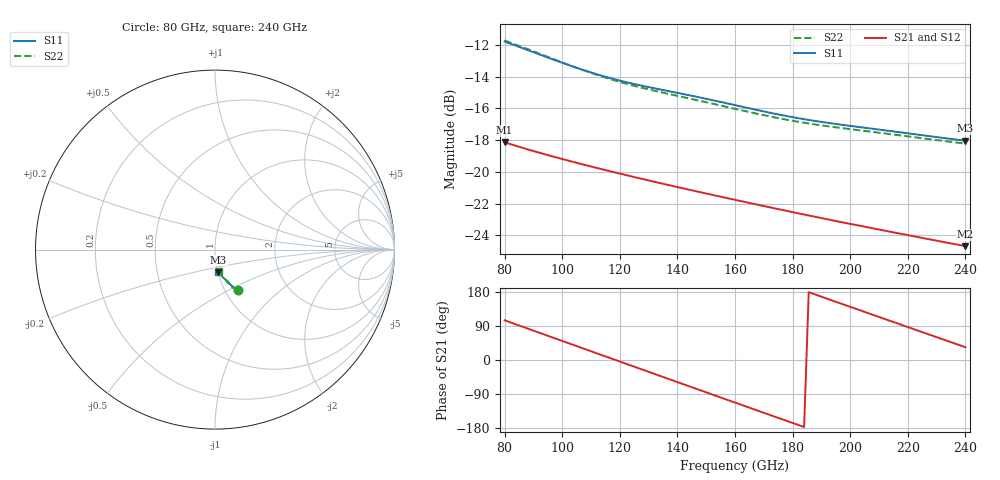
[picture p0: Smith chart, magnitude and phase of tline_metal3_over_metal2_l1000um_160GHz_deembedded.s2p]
! Created with skrf 2.2.0 (http://scikit-rf.org).
# GHz S DB R 50.0
! Port[1] = P1
! Port[2] = P2
!freq dBS11 angS11 dBS21 angS21 dBS12 angS12 dBS22 angS22
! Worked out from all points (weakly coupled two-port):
!   101 points, 80 GHz to 240 GHz, reference 50 ohm
!   highest |S21| = -18.14 dB at 80 GHz (marker M1); lowest = -24.7 dB at 240 GHz (marker M2)
!   lowest |S11| = -18.0 dB at 240 GHz (marker M3), VSWR 1.29, Z = 50.4 - j12.7 ohm
!   |S11| at or under -10 dB: start of sweep to end of sweep
!   |S22| runs from -18.2 to -11.7 dB; largest |S21 - S12| = 2.1e-14
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80  -11.79 -60.4  -18.14 104.8  -18.14 104.8  -11.72 -61.1
86.4  -12.22 -62.2  -18.49 87.3  -18.49 87.3  -12.16 -63.1
92.8  -12.65 -63.8  -18.83 69.9  -18.83 69.9  -12.60 -64.8
100.8  -13.18 -65.4  -19.23 48.1  -19.23 48.1  -13.16 -66.7
107.2  -13.58 -66.4  -19.53 30.7  -19.53 30.7  -13.59 -67.8
113.6  -13.94 -67.2  -19.82 13.3  -19.82 13.3  -13.98 -68.7
120  -14.25 -67.9  -20.11 -4.1  -20.11 -4.1  -14.33 -69.4
126.4  -14.52 -68.7  -20.38 -21.4  -20.38 -21.4  -14.64 -70.0
134.4  -14.82 -69.7  -20.72 -43.1  -20.72 -43.1  -14.99 -70.9
140.8  -15.05 -70.7  -20.99 -60.4  -20.99 -60.4  -15.24 -71.8
147.2  -15.29 -71.8  -21.25 -77.8  -21.25 -77.8  -15.50 -72.6
153.6  -15.54 -72.8  -21.50 -95.1  -21.50 -95.1  -15.76 -73.5
160  -15.79 -73.8  -21.76 -112.3  -21.76 -112.3  -16.03 -74.3
168  -16.11 -74.7  -22.07 -133.9  -22.07 -133.9  -16.35 -75.0
174.4  -16.36 -75.4  -22.32 -151.1  -22.32 -151.1  -16.59 -75.5
180.8  -16.58 -75.9  -22.56 -168.3  -22.56 -168.3  -16.81 -75.8
187.2  -16.77 -76.3  -22.80 174.6  -22.80 174.6  -16.99 -76.2
193.6  -16.94 -76.8  -23.04 157.4  -23.04 157.4  -17.16 -76.6
201.6  -17.14 -77.5  -23.33 136.0  -23.33 136.0  -17.34 -77.1
214.4  -17.44 -78.8  -23.78 101.9  -23.78 101.9  -17.63 -78.3
225.6  -17.70 -79.9  -24.18 72.0  -24.18 72.0  -17.89 -79.2
240  -18.03 -81.1  -24.68 33.7  -24.68 33.7  -18.22 -80.2
